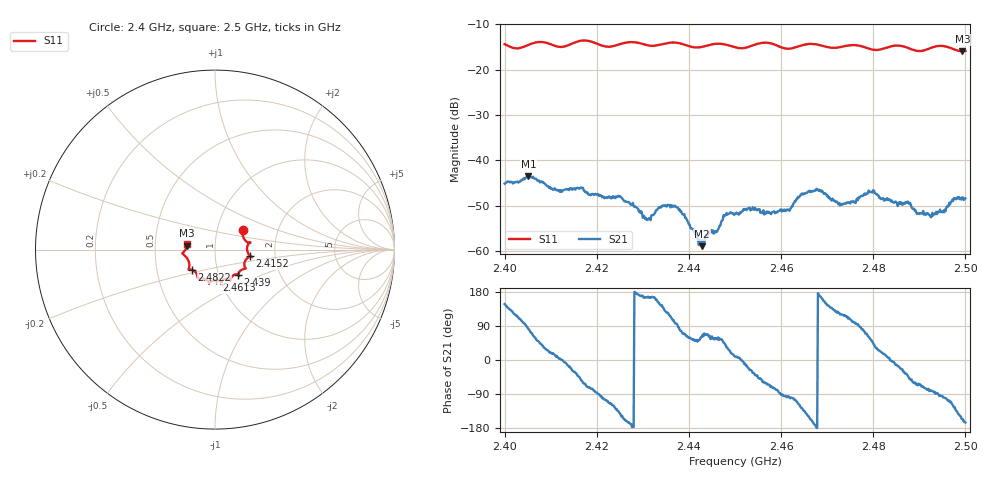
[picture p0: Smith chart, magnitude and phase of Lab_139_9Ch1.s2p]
# Hz S RI R 50
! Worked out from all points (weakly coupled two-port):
!   601 points, 2.4 GHz to 2.5 GHz, reference 50 ohm
!   highest |S21| = -43.49 dB at 2.4052 GHz (marker M1); lowest = -58.9 dB at 2.4428 GHz (marker M2)
!   lowest |S11| = -15.9 dB at 2.4993 GHz (marker M3), VSWR 1.38, Z = 36.3 + j1.61 ohm
!   |S11| at or under -10 dB: start of sweep to end of sweep
!   S12 and S22 are empty: the file has one direction only
!   S11 on the Smith chart (normalised r, x): 2.4 GHz: 1.33, +0.31; 2.4152 GHz: 1.48, -0.11; 2.439 GHz: 1.24, -0.36; 2.4613 GHz: 0.96, -0.34; 2.4822 GHz: 0.76, -0.17; 2.5 GHz: 0.73, +0.05
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2.4e9  0.1554 0.1116  -0.00468 0.00297  0 0  0 0
2.405167e9  0.1835 0.0398  0.000942 0.00662  0 0  0 0
2.4115e9  0.1792 0.0143  0.0046 0.000583  0 0  0 0
2.415167e9  0.1957 -0.0365  0.00419 -0.00255  0 0  0 0
2.416667e9  0.2051 -0.0425  0.00292 -0.004  0 0  0 0
2.425e9  0.1656 -0.0959  -0.00313 -0.00256  0 0  0 0
2.431e9  0.1475 -0.1134  -0.00214 0.000525  0 0  0 0
2.433333e9  0.1321 -0.1325  -0.00262 0.00139  0 0  0 0
2.436667e9  0.1352 -0.1467  -0.000825 0.00306  0 0  0 0
2.439e9  0.1282 -0.1388  0.000956 0.00237  0 0  0 0
2.442833e9  0.0915 -0.1531  0.000554 0.000989  0 0  0 0
2.448e9  0.0836 -0.1695  0.00195 0.00155  0 0  0 0
2.45e9  0.0684 -0.1632  0.00255 0.000407  0 0  0 0
2.461333e9  0.00751 -0.1703  -0.00041 -0.00282  0 0  0 0
2.466667e9  -0.0328 -0.1898  -0.00428 -0.0016  0 0  0 0
2.472833e9  -0.0754 -0.1608  -0.00158 0.00277  0 0  0 0
2.4795e9  -0.1035 -0.1327  0.0027 0.00359  0 0  0 0
2.482167e9  -0.1284 -0.1122  0.00367 0.0011  0 0  0 0
2.483333e9  -0.1397 -0.1106  0.00363 0.00037  0 0  0 0
2.492667e9  -0.1728 -0.0293  0.000346 -0.00236  0 0  0 0
2.499333e9  -0.1582 0.0217  -0.00357 -0.00162  0 0  0 0
2.5e9  -0.1576 0.0337  -0.00368 -0.000995  0 0  0 0
